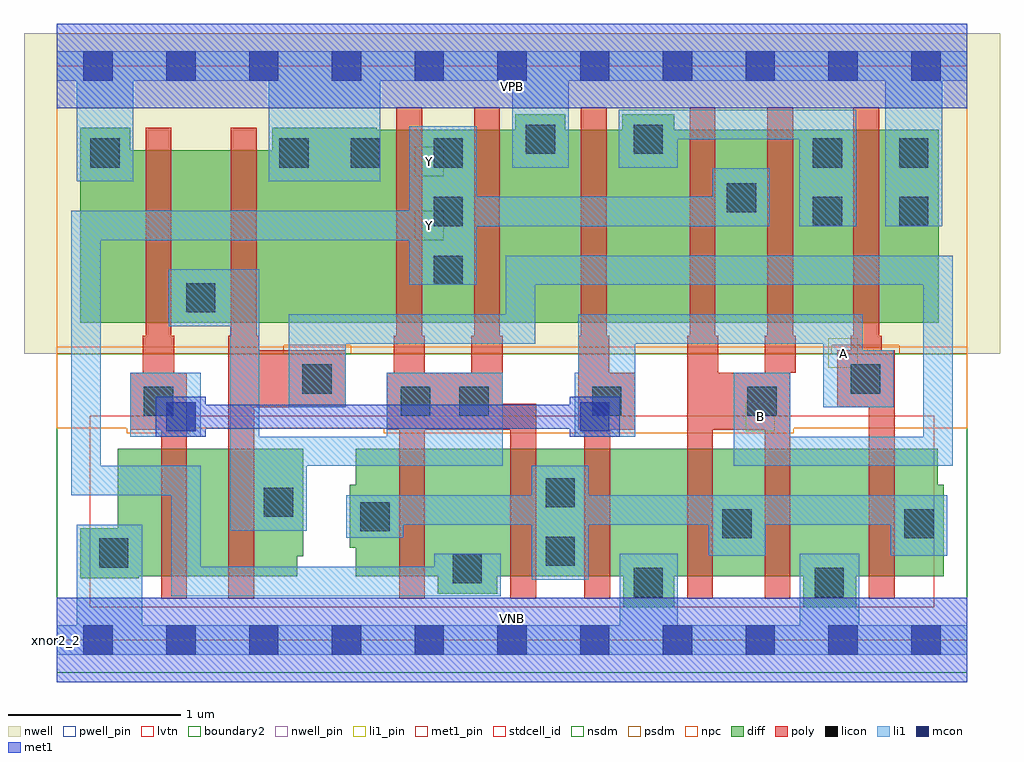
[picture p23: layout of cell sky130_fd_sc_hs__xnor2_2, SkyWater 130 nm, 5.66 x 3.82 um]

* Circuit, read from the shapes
.subckt sky130_fd_sc_hs__xnor2_2 A B VGND VNB VPB VPWR Y
XM1 n1 A VGND VNB sky130_fd_pr__nfet_01v8_lvt w=0.74 l=0.15
XM2 n2 B n1 VNB sky130_fd_pr__nfet_01v8_lvt w=0.74 l=0.15
XM3 Y n2 n3 VNB sky130_fd_pr__nfet_01v8_lvt w=0.74 l=0.15 m=2
XM4 VGND A n3 VNB sky130_fd_pr__nfet_01v8_lvt w=0.74 l=0.15 m=2
XM5 n3 B VGND VNB sky130_fd_pr__nfet_01v8_lvt w=0.74 l=0.15 m=2
XM6 n2 A VPWR VPB sky130_fd_pr__pfet_01v8 w=1 l=0.15
XM7 VPWR B n2 VPB sky130_fd_pr__pfet_01v8 w=1 l=0.15
XM8 Y n2 VPWR VPB sky130_fd_pr__pfet_01v8 w=1.12 l=0.15 m=2
XM9 n4 A VPWR VPB sky130_fd_pr__pfet_01v8 w=1.12 l=0.15 m=2
XM10 Y B n4 VPB sky130_fd_pr__pfet_01v8 w=1.12 l=0.15 m=2
.ends

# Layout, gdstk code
import gdstk
lib = gdstk.Library(unit=1e-6, precision=1e-09)
def R(c, l, rs):  # rectangles x0, y0, x1, y1
    for r in rs: c.add(gdstk.rectangle(r[:2], r[2:], *l))
def A(c, l, x, y, w, h, nx, ny, dx, dy):  # array of equal rectangles
    R(c, l, [(x+i*dx, y+j*dy, x+i*dx+w, y+j*dy+h) for i in range(nx) for j in range(ny)])
def P(c, l, *ps):  # polygons
    for p in ps: c.add(gdstk.Polygon(p, *l))
nwell_pin = (64, 16)
nwell = (64, 20)
diff = (65, 20)
poly = (66, 20)
licon = (66, 44)
li1_pin = (67, 16)
li1 = (67, 20)
mcon = (67, 44)
met1_pin = (68, 16)
met1 = (68, 20)
stdcell_id = (81, 4)
nsdm = (93, 44)
psdm = (94, 20)
npc = (95, 20)
pwell_pin = (122, 16)
lvtn = (125, 44)
boundary2 = (236, 0)

sky130_fd_sc_hs__xnor2_2 = lib.new_cell('sky130_fd_sc_hs__xnor2_2')
R(sky130_fd_sc_hs__xnor2_2, nwell_pin, [(0,3.085,5.28,3.33)])
R(sky130_fd_sc_hs__xnor2_2, nwell, [(-0.19,1.66,5.47,3.52)])
P(sky130_fd_sc_hs__xnor2_2, diff, [(1.43,1.11),(0.355,1.11),(0.355,0.65),(0.135,0.65),(0.135,0.36),(0.475,0.36),(0.475,0.37),(1.395,0.37),(1.395,0.485),(1.43,0.485)],
  [(5.115,2.96),(3.58,2.96),(3.58,3.05),(3.28,3.05),(3.28,2.96),(2.95,2.96),(2.95,3.05),(2.66,3.05),(2.66,2.96),(1.855,2.96),(1.855,2.97),(1.25,2.97),(1.25,2.84),(0.425,2.84),(0.425,2.97),(0.135,2.97),(0.135,1.84),(5.115,1.84)],
  [(5.145,0.9),(5.11,0.9),(5.11,1.11),(1.735,1.11),(1.735,0.9),(1.7,0.9),(1.7,0.535),(1.735,0.535),(1.735,0.37),(2.21,0.37),(2.21,0.27),(2.555,0.27),(2.555,0.37),(3.285,0.37),(3.285,0.19),(3.58,0.19),(3.58,0.37),(4.33,0.37),(4.33,0.19),(4.635,0.19),(4.635,0.37),(5.145,0.37)])
P(sky130_fd_sc_hs__xnor2_2, poly, [(0.755,1.55),(0.68,1.55),(0.68,1.765),(0.665,1.765),(0.665,2.97),(0.515,2.97),(0.515,1.765),(0.5,1.765),(0.5,1.55),(0.425,1.55),(0.425,1.22),(0.605,1.22),(0.605,0.24),(0.755,0.24)],
  [(1.675,1.68),(1.175,1.68),(1.175,1.765),(1.16,1.765),(1.16,2.97),(1.01,2.97),(1.01,1.765),(0.995,1.765),(0.995,0.24),(1.145,0.24),(1.145,1.35),(1.675,1.35)],
  [(2.78,1.37),(2.585,1.37),(2.585,1.765),(2.57,1.765),(2.57,3.09),(2.42,3.09),(2.42,1.765),(2.405,1.765),(2.405,1.55),(2.135,1.55),(2.135,1.765),(2.12,1.765),(2.12,3.09),(1.97,3.09),(1.97,1.765),(1.955,1.765),(1.955,1.55),(1.915,1.55),(1.915,1.22),(1.985,1.22),(1.985,0.24),(2.135,0.24),(2.135,1.22),(2.63,1.22),(2.63,0.24),(2.78,0.24)],
  [(3.355,1.55),(3.205,1.55),(3.205,1.765),(3.19,1.765),(3.19,3.09),(3.04,3.09),(3.04,1.765),(3.025,1.765),(3.025,1.22),(3.06,1.22),(3.06,0.24),(3.21,0.24),(3.21,1.22),(3.355,1.22)],
  [(4.285,1.765),(4.27,1.765),(4.27,3.09),(4.12,3.09),(4.12,1.765),(4.105,1.765),(4.105,1.55),(3.835,1.55),(3.835,1.765),(3.82,1.765),(3.82,3.09),(3.67,3.09),(3.67,1.765),(3.655,1.765),(3.655,0.24),(3.805,0.24),(3.805,1.22),(4.105,1.22),(4.105,0.24),(4.255,0.24),(4.255,1.55),(4.285,1.55)],
  [(4.86,1.68),(4.785,1.68),(4.785,1.765),(4.77,1.765),(4.77,3.09),(4.62,3.09),(4.62,1.765),(4.605,1.765),(4.605,1.68),(4.525,1.68),(4.525,1.35),(4.71,1.35),(4.71,0.24),(4.86,0.24)])
A(sky130_fd_sc_hs__xnor2_2, licon, 2.185, 2.06, 0.17, 0.17, 1, 3, 0, 0.34)
R(sky130_fd_sc_hs__xnor2_2, licon, [(3.345,0.25,3.515,0.42), (4.395,0.25,4.565,0.42), (2.295,0.33,2.465,0.5), (0.245,0.42,0.415,0.59), (2.835,0.43,3.005,0.6), (3.86,0.59,4.03,0.76), (4.915,0.59,5.085,0.76), (1.76,0.63,1.93,0.8), (1.2,0.715,1.37,0.885), (2.835,0.77,3.005,0.94), (0.505,1.3,0.675,1.47), (1.995,1.3,2.165,1.47), (2.335,1.3,2.505,1.47), (3.105,1.3,3.275,1.47), (4.005,1.3,4.175,1.47), (1.425,1.43,1.595,1.6), (4.605,1.43,4.775,1.6), (0.75,1.9,0.92,2.07), (4.385,2.4,4.555,2.57), (4.885,2.4,5.055,2.57), (3.885,2.48,4.055,2.65), (0.195,2.74,0.365,2.91), (1.29,2.74,1.46,2.91), (1.705,2.74,1.875,2.91), (4.385,2.74,4.555,2.91), (4.885,2.74,5.055,2.91), (2.72,2.82,2.89,2.99), (3.345,2.82,3.515,2.99)])
R(sky130_fd_sc_hs__xnor2_2, li1_pin, [(3.995,1.21,4.165,1.38), (4.475,1.58,4.645,1.75), (2.075,2.32,2.245,2.49), (2.075,2.69,2.245,2.86)])
R(sky130_fd_sc_hs__xnor2_2, li1, [(0.425,1.18,0.835,1.55)])
P(sky130_fd_sc_hs__xnor2_2, li1, [(0.115,2.66),(0.115,3.245),(0,3.245),(0,3.415),(5.28,3.415),(5.28,3.245),(5.135,3.245),(5.135,2.4),(4.805,2.4),(4.805,3.245),(2.97,3.245),(2.97,2.74),(2.64,2.74),(2.64,3.245),(1.875,3.245),(1.875,2.66),(1.23,2.66),(1.23,3.245),(0.445,3.245),(0.445,2.66)],
  [(0.115,0.085),(0.115,0.67),(0.495,0.67),(0.495,0.085),(3.265,0.085),(3.265,0.5),(3.6,0.5),(3.6,0.085),(4.31,0.085),(4.31,0.5),(4.655,0.5),(4.655,0.085),(5.28,0.085),(5.28,-0.085),(0,-0.085),(0,0.085)],
  [(2.435,2.57),(3.805,2.57),(3.805,2.735),(4.135,2.735),(4.135,2.4),(2.435,2.4),(2.435,2.06),(2.045,2.06),(2.045,2.32),(0.255,2.32),(0.255,1.01),(0.835,1.01),(0.835,0.425),(2.19,0.425),(2.19,0.5),(2.575,0.5),(2.575,0.255),(0.665,0.255),(0.665,0.84),(0.085,0.84),(0.085,2.49),(2.045,2.49),(2.045,2.98),(2.435,2.98)],
  [(1.345,1.89),(2.605,1.89),(2.605,2.23),(5.195,2.23),(5.195,1.01),(3.925,1.01),(3.925,1.55),(4.255,1.55),(4.255,1.18),(5.025,1.18),(5.025,2.06),(2.775,2.06),(2.775,1.72),(1.675,1.72),(1.675,1.35),(1.345,1.35)],
  [(3.025,1.89),(4.675,1.89),(4.675,1.68),(4.855,1.68),(4.855,1.35),(4.445,1.35),(4.445,1.72),(3.355,1.72),(3.355,1.18),(3.005,1.18),(3.005,1.55),(3.025,1.55)],
  [(1.175,1.18),(1.915,1.18),(1.915,1.55),(2.585,1.55),(2.585,1.01),(1.45,1.01),(1.45,0.635),(1.005,0.635),(1.005,1.82),(0.65,1.82),(0.65,2.15),(1.175,2.15)],
  [(2.755,0.35),(2.755,0.67),(2.01,0.67),(2.01,0.595),(1.68,0.595),(1.68,0.84),(2.755,0.84),(2.755,1.01),(3.085,1.01),(3.085,0.84),(5.165,0.84),(5.165,0.49),(4.835,0.49),(4.835,0.67),(4.11,0.67),(4.11,0.49),(3.78,0.49),(3.78,0.67),(3.085,0.67),(3.085,0.35)],
  [(4.305,2.4),(4.305,2.905),(3.6,2.905),(3.6,2.74),(3.26,2.74),(3.26,3.075),(4.635,3.075),(4.635,2.4)])
A(sky130_fd_sc_hs__xnor2_2, mcon, 0.155, -0.085, 0.17, 0.17, 11, 2, 0.48, 3.33)
R(sky130_fd_sc_hs__xnor2_2, mcon, [(0.635,1.21,0.805,1.38), (3.035,1.21,3.205,1.38)])
R(sky130_fd_sc_hs__xnor2_2, met1_pin, [(0,0,5.28,0.245), (0,3.085,5.28,3.33)])
R(sky130_fd_sc_hs__xnor2_2, met1, [(0,-0.245,5.28,0.245), (0,3.085,5.28,3.575)])
P(sky130_fd_sc_hs__xnor2_2, met1, [(0.865,1.365),(2.975,1.365),(2.975,1.41),(3.265,1.41),(3.265,1.18),(2.975,1.18),(2.975,1.225),(0.865,1.225),(0.865,1.18),(0.575,1.18),(0.575,1.41),(0.865,1.41)])
R(sky130_fd_sc_hs__xnor2_2, stdcell_id, [(0,0,5.28,3.33)])
R(sky130_fd_sc_hs__xnor2_2, nsdm, [(0,-0.19,5.28,1.66)])
P(sky130_fd_sc_hs__xnor2_2, psdm, [(5.28,3.52),(0,3.52),(0,1.66),(1.315,1.66),(1.315,1.71),(1.705,1.71),(1.705,1.66),(4.495,1.66),(4.495,1.71),(4.885,1.71),(4.885,1.66),(5.28,1.66)])
P(sky130_fd_sc_hs__xnor2_2, npc, [(5.28,1.7),(0,1.7),(0,1.23),(0.405,1.23),(0.405,1.2),(0.775,1.2),(0.775,1.23),(1.895,1.23),(1.895,1.2),(4.275,1.2),(4.275,1.23),(5.28,1.23)])
R(sky130_fd_sc_hs__xnor2_2, pwell_pin, [(0,0,5.28,0.245)])
R(sky130_fd_sc_hs__xnor2_2, lvtn, [(0.19,0.19,5.09,1.3)])
R(sky130_fd_sc_hs__xnor2_2, boundary2, [(0,0,5.28,3.33)])
sky130_fd_sc_hs__xnor2_2.add(gdstk.Label('xnor2_2', (0,0), layer=83, texttype=44))
sky130_fd_sc_hs__xnor2_2.add(gdstk.Label('VNB', (2.64,0.123), layer=64, texttype=59))
sky130_fd_sc_hs__xnor2_2.add(gdstk.Label('VPB', (2.64,3.208), layer=64, texttype=5))
sky130_fd_sc_hs__xnor2_2.add(gdstk.Label('VPWR', (2.64,3.208), layer=68, texttype=5))
sky130_fd_sc_hs__xnor2_2.add(gdstk.Label('VGND', (2.64,0.123), layer=68, texttype=5))
sky130_fd_sc_hs__xnor2_2.add(gdstk.Label('Y', (2.16,2.405), layer=67, texttype=5))
sky130_fd_sc_hs__xnor2_2.add(gdstk.Label('Y', (2.16,2.775), layer=67, texttype=5))
sky130_fd_sc_hs__xnor2_2.add(gdstk.Label('B', (4.08,1.295), layer=67, texttype=5))
sky130_fd_sc_hs__xnor2_2.add(gdstk.Label('A', (4.56,1.665), layer=67, texttype=5))

lib.write_gds('sky130_fd_sc_hs__xnor2_2.gds')
